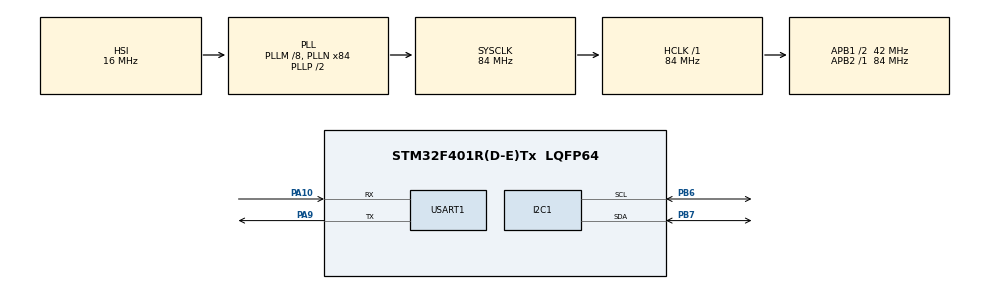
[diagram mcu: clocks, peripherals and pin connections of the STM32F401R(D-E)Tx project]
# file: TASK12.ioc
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Mcu.Family=STM32F4
Mcu.Name=STM32F401R(D-E)Tx
Mcu.Package=LQFP64
NVIC.PriorityGroup=NVIC_PRIORITYGROUP_4
PA10.Mode=Asynchronous
PA10.Signal=USART1_RX
PA13.Mode=Serial_Wire
PA13.Signal=SYS_JTMS-SWDIO
PA14.Mode=Serial_Wire
PA14.Signal=SYS_JTCK-SWCLK
PA9.Mode=Asynchronous
PA9.Signal=USART1_TX
PB6.Mode=I2C
PB6.Signal=I2C1_SCL
PB7.Mode=I2C
PB7.Signal=I2C1_SDA
PH0\ -\ OSC_IN.Mode=HSE-External-Clock-Source
PH0\ -\ OSC_IN.Signal=RCC_OSC_IN
PH1\ -\ OSC_OUT.Mode=HSE-External-Clock-Source
PH1\ -\ OSC_OUT.Signal=RCC_OSC_OUT
ProjectManager.HeapSize=0x200
ProjectManager.StackSize=0x400
ProjectManager.TargetToolchain=MDK-ARM V5.32
RCC.48MHZClocksFreq_Value=42000000
RCC.AHBFreq_Value=84000000
RCC.APB1CLKDivider=RCC_HCLK_DIV2
RCC.APB1Freq_Value=42000000
RCC.APB1TimFreq_Value=84000000
RCC.APB2Freq_Value=84000000
RCC.APB2TimFreq_Value=84000000
RCC.CortexFreq_Value=84000000
RCC.HCLKFreq_Value=84000000
RCC.HSE_VALUE=25000000
RCC.HSI_VALUE=16000000
RCC.LSE_VALUE=32768
RCC.PLLM=8
RCC.PLLN=84
RCC.SYSCLKFreq_VALUE=84000000
RCC.SYSCLKSource=RCC_SYSCLKSOURCE_PLLCLK
RCC.VCOOutputFreq_Value=168000000
USART1.VirtualMode=VM_ASYNC
board=custom

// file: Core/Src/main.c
/* USER CODE BEGIN Header */
/**
  ******************************************************************************
  * @file           : main.c
  * @brief          : Main program body
  ******************************************************************************
  * @attention
  *
  * Copyright (c) 2026 STMicroelectronics.
  * All rights reserved.
  *
  * This software is licensed under terms that can be found in the LICENSE file
  * in the root directory of this software component.
  * If no LICENSE file comes with this software, it is provided AS-IS.
  *
  ******************************************************************************
  */
/* USER CODE END Header */
#include "main.h"

/* USER CODE BEGIN Includes */
#include <stdio.h>
#include <string.h>
#include "bme280.h"
#include "bme280_defs.h"
/* USER CODE END Includes */

I2C_HandleTypeDef hi2c1;

UART_HandleTypeDef huart1;

/* USER CODE BEGIN PV */

struct bme280_dev dev;          // sensor communication config
struct bme280_data comp_data;   // sensor reading

uint8_t dev_addr = BME280_I2C_ADDR_PRIM;   // 0x76

int8_t rslt = BME280_OK;   // success or failure
uint8_t bmeReady = 0;      // 1 = sensor ready

char msg[100];

/* USER CODE END PV */

void SystemClock_Config(void);
static void MX_GPIO_Init(void);
static void MX_I2C1_Init(void);
static void MX_USART1_UART_Init(void);

/* USER CODE BEGIN 0 */

// I2C1 : PB6 (SCL) , PB7 (SDA) -> BME280
// UART1 : PA9 (TX) , PA10 (RX) -> USB-TTL -> PuTTY (115200)

// reads sensor registers
int8_t user_i2c_read(uint8_t reg_addr, uint8_t *reg_data,
                     uint32_t len, void *intf_ptr)
{
    uint8_t addr = *(uint8_t *)intf_ptr;

    if (HAL_I2C_Mem_Read(&hi2c1, addr << 1, reg_addr,
                         I2C_MEMADD_SIZE_8BIT, reg_data,
                         (uint16_t)len, 1000) == HAL_OK)
    {
        return BME280_OK;
    }

    return BME280_E_COMM_FAIL;
}

// writes sensor registers
int8_t user_i2c_write(uint8_t reg_addr, const uint8_t *reg_data,
                      uint32_t len, void *intf_ptr)
{
    uint8_t addr = *(uint8_t *)intf_ptr;

    if (HAL_I2C_Mem_Write(&hi2c1, addr << 1, reg_addr,
                          I2C_MEMADD_SIZE_8BIT,
                          (uint8_t *)reg_data,
                          (uint16_t)len, 1000) == HAL_OK)
    {
        return BME280_OK;
    }

    return BME280_E_COMM_FAIL;
}

// delay function (microseconds -> ms)
void user_delay_us(uint32_t period, void *intf_ptr)
{
    (void)intf_ptr;

    if (period > 0)
    {
        HAL_Delay(period / 1000 + (period % 1000 != 0));
    }
}

// send a string to PC
void sendUART(char inp[])
{
    HAL_UART_Transmit(&huart1, (uint8_t *)inp, strlen(inp), HAL_MAX_DELAY);
}

/* USER CODE END 0 */

int main(void)
{

  /* MCU Configuration--------------------------------------------------------*/

  /* Reset of all peripherals, Initializes the Flash interface and the Systick. */
  HAL_Init();

  /* Configure the system clock */
  SystemClock_Config();

  /* Initialize all configured peripherals */
  MX_GPIO_Init();
  MX_I2C1_Init();
  MX_USART1_UART_Init();
  /* USER CODE BEGIN 2 */

  HAL_Delay(100);
  sendUART("BME280 Testing:\r\n");

  // 1. check BME280 is connected
  if (HAL_I2C_IsDeviceReady(&hi2c1, dev_addr << 1, 3, 100) == HAL_OK)
  {
      // 2. give our I2C functions to Bosch API
      dev.intf = BME280_I2C_INTF;
      dev.intf_ptr = &dev_addr;
      dev.read = user_i2c_read;
      dev.write = user_i2c_write;
      dev.delay_us = user_delay_us;

      // 3. initialize sensor
      rslt = bme280_init(&dev);

      if (rslt == BME280_OK)
      {
          // 4. settings : 1x oversampling, no filter
          struct bme280_settings settings = {0};

          settings.osr_t = BME280_OVERSAMPLING_1X;
          settings.osr_p = BME280_OVERSAMPLING_1X;
          settings.osr_h = BME280_OVERSAMPLING_1X;
          settings.filter = BME280_FILTER_COEFF_OFF;

          rslt = bme280_set_sensor_settings(
              BME280_SEL_OSR_TEMP |
              BME280_SEL_OSR_PRESS |
              BME280_SEL_OSR_HUM |
              BME280_SEL_FILTER,
              &settings, &dev
          );

          // 5. normal mode -> sensor measures continuously
          if (rslt == BME280_OK)
          {
              rslt = bme280_set_sensor_mode(BME280_POWERMODE_NORMAL, &dev);
          }

          if (rslt == BME280_OK)
          {
              bmeReady = 1;
          }
      }
  }

  if (bmeReady == 1)
  {
      sendUART("BME280 ready\r\n");
  }
  else
  {
      sendUART("BME280 not found\r\n");
  }

  /* USER CODE END 2 */

  /* Infinite loop */
  /* USER CODE BEGIN WHILE */
  while (1)
  {
      // 6. read and print every 2 s
      if (bmeReady == 1)
      {
          rslt = bme280_get_sensor_data(BME280_ALL, &comp_data, &dev);

          if (rslt == BME280_OK)
          {
              snprintf(msg, sizeof(msg),
                       "Temp: %.2f C  Hum: %.2f %%  Pres: %.2f hPa\r\n",
                       comp_data.temperature,
                       comp_data.humidity,
                       comp_data.pressure / 100.0);
              sendUART(msg);
          }
          else
          {
              sendUART("Read error\r\n");
          }
      }

      HAL_Delay(2000);
    /* USER CODE END WHILE */

  }
}

void SystemClock_Config(void)
{
  RCC_OscInitTypeDef RCC_OscInitStruct = {0};
  RCC_ClkInitTypeDef RCC_ClkInitStruct = {0};

  /** Configure the main internal regulator output voltage
  */
  __HAL_RCC_PWR_CLK_ENABLE();
  __HAL_PWR_VOLTAGESCALING_CONFIG(PWR_REGULATOR_VOLTAGE_SCALE2);

  /** Initializes the RCC Oscillators according to the specified parameters
  * in the RCC_OscInitTypeDef structure.
  */
  RCC_OscInitStruct.OscillatorType = RCC_OSCILLATORTYPE_HSI;
  RCC_OscInitStruct.HSIState = RCC_HSI_ON;
  RCC_OscInitStruct.HSICalibrationValue = RCC_HSICALIBRATION_DEFAULT;
  RCC_OscInitStruct.PLL.PLLState = RCC_PLL_ON;
  RCC_OscInitStruct.PLL.PLLSource = RCC_PLLSOURCE_HSI;
  RCC_OscInitStruct.PLL.PLLM = 8;
  RCC_OscInitStruct.PLL.PLLN = 84;
  RCC_OscInitStruct.PLL.PLLP = RCC_PLLP_DIV2;
  RCC_OscInitStruct.PLL.PLLQ = 4;
  if (HAL_RCC_OscConfig(&RCC_OscInitStruct) != HAL_OK)
  {
    Error_Handler();
  }

  /** Initializes the CPU, AHB and APB buses clocks
  */
  RCC_ClkInitStruct.ClockType = RCC_CLOCKTYPE_HCLK|RCC_CLOCKTYPE_SYSCLK
                              |RCC_CLOCKTYPE_PCLK1|RCC_CLOCKTYPE_PCLK2;
  RCC_ClkInitStruct.SYSCLKSource = RCC_SYSCLKSOURCE_PLLCLK;
  RCC_ClkInitStruct.AHBCLKDivider = RCC_SYSCLK_DIV1;
  RCC_ClkInitStruct.APB1CLKDivider = RCC_HCLK_DIV2;
  RCC_ClkInitStruct.APB2CLKDivider = RCC_HCLK_DIV1;

  if (HAL_RCC_ClockConfig(&RCC_ClkInitStruct, FLASH_LATENCY_2) != HAL_OK)
  {
    Error_Handler();
  }
}

static void MX_I2C1_Init(void)
{

  hi2c1.Instance = I2C1;
  hi2c1.Init.ClockSpeed = 100000;
  hi2c1.Init.DutyCycle = I2C_DUTYCYCLE_2;
  hi2c1.Init.OwnAddress1 = 0;
  hi2c1.Init.AddressingMode = I2C_ADDRESSINGMODE_7BIT;
  hi2c1.Init.DualAddressMode = I2C_DUALADDRESS_DISABLE;
  hi2c1.Init.OwnAddress2 = 0;
  hi2c1.Init.GeneralCallMode = I2C_GENERALCALL_DISABLE;
  hi2c1.Init.NoStretchMode = I2C_NOSTRETCH_DISABLE;
  if (HAL_I2C_Init(&hi2c1) != HAL_OK)
  {
    Error_Handler();
  }

}

static void MX_USART1_UART_Init(void)
{

  huart1.Instance = USART1;
  huart1.Init.BaudRate = 115200;
  huart1.Init.WordLength = UART_WORDLENGTH_8B;
  huart1.Init.StopBits = UART_STOPBITS_1;
  huart1.Init.Parity = UART_PARITY_NONE;
  huart1.Init.Mode = UART_MODE_TX_RX;
  huart1.Init.HwFlowCtl = UART_HWCONTROL_NONE;
  huart1.Init.OverSampling = UART_OVERSAMPLING_16;
  if (HAL_UART_Init(&huart1) != HAL_OK)
  {
    Error_Handler();
  }

}

static void MX_GPIO_Init(void)
{

  /* GPIO Ports Clock Enable */
  __HAL_RCC_GPIOH_CLK_ENABLE();
  __HAL_RCC_GPIOA_CLK_ENABLE();
  __HAL_RCC_GPIOB_CLK_ENABLE();

}

void Error_Handler(void)
{
  __disable_irq();
  while (1)
  {
  }
}
